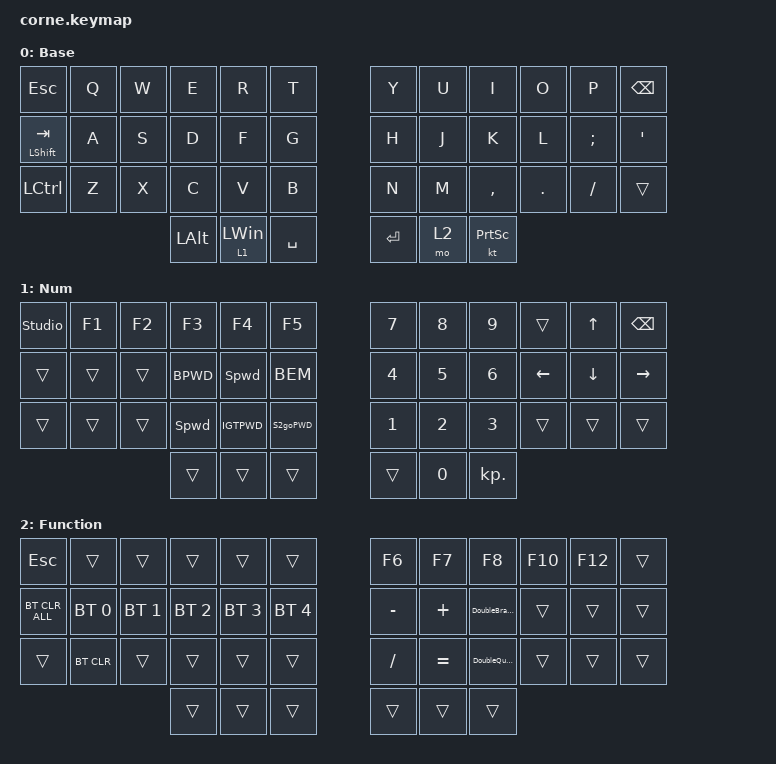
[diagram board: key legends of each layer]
#include <behaviors.dtsi>
#include <dt-bindings/zmk/bt.h>
#include <dt-bindings/zmk/keys.h>

/ {
    macros {
        DoubleBracket: DoubleBracket {
            compatible = "zmk,behavior-macro";
            #binding-cells = <0>;
            bindings = <&kp LPAR &kp RPAR &kp LEFT_ARROW>;
            label = "DOUBLEBRACKET";
        };

        DoubleQuote: DoubleQuote {
            compatible = "zmk,behavior-macro";
            #binding-cells = <0>;
            bindings = <&kp DOUBLE_QUOTES &kp DOUBLE_QUOTES &kp LEFT_ARROW>;
            label = "DOUBLEQUOTE";
        };

        Spwd: Spwd {
            compatible = "zmk,behavior-macro";
            #binding-cells = <0>;
            bindings = <&kp LS(T) &kp EXCL &kp N4 &kp N7 &kp M &kp C &kp M &kp S &kp AT &kp D &kp M &kp I &kp N>;
            label = "SPWD";
        };

        S2goPWD: S2goPWD {
            compatible = "zmk,behavior-macro";
            #binding-cells = <0>;
            bindings = <&kp LS(S) &kp Y &kp S &kp T &kp E &kp M &kp EXCL &kp N2 &kp G &kp O>;
            label = "S2GOPWD";
        };

        IGTPWD: IGTPWD {
            compatible = "zmk,behavior-macro";
            #binding-cells = <0>;
            bindings = <&kp LS(T) &kp EXCL &kp N1 &kp G &kp T &kp W &kp I &kp N &kp A &kp C &kp C>;
            label = "IGTPWD";
        };

        BPWD: BPWD {
            compatible = "zmk,behavior-macro";
            #binding-cells = <0>;
            bindings = <&kp LS(B) &kp I &kp LS(B) &kp I &kp LS(O) &kp N2 &kp N2 &kp N1 &kp N0>;
            label = "BPWD";
        };

        BEM: BEM {
            compatible = "zmk,behavior-macro";
            #binding-cells = <0>;
            bindings = <&kp B &kp O &kp O &kp N &kp H &kp U &kp E &kp I &kp DOT &kp L &kp O &kp W &kp AT &kp G &kp M &kp A &kp I &kp L &kp DOT &kp C &kp O &kp M>;
            label = "BEM";
        };
    };

    keymap {
        compatible = "zmk,keymap";

        /* ==================================================
         * Layer 0 – BASE
         * ================================================== */
        /* ==================================================
         * Layer 1 – LOWER
         * ================================================== */
        /* ==================================================
         * Layer 2 – RAISE
         * ================================================== */

        Base {
            bindings = <
&kp ESC             &kp Q  &kp W  &kp E     &kp R           &kp T        &kp Y      &kp U  &kp I            &kp O    &kp P     &kp BSPC
&mt LEFT_SHIFT TAB  &kp A  &kp S  &kp D     &kp F           &kp G        &kp H      &kp J  &kp K            &kp L    &kp SEMI  &kp APOS
&kp LCTRL           &kp Z  &kp X  &kp C     &kp V           &kp B        &kp N      &kp M  &kp COMMA        &kp DOT  &kp FSLH  &trans
                                  &kp LALT  &lt 1 LEFT_WIN  &kp SPACE    &kp ENTER  &mo 2  &kt PRINTSCREEN
            >;
        };

        Num {
            bindings = <
&studio_unlock  &kp F1  &kp F2  &kp F3  &kp F4   &kp F5      &kp N7  &kp N8        &kp N9      &trans          &kp UP_ARROW    &kp BACKSPACE
&trans          &trans  &trans  &BPWD   &Spwd    &BEM        &kp N4  &kp N5        &kp N6      &kp LEFT_ARROW  &kp DOWN_ARROW  &kp RIGHT_ARROW
&trans          &trans  &trans  &Spwd   &IGTPWD  &S2goPWD    &kp N1  &kp N2        &kp N3      &trans          &trans          &trans
                                &trans  &trans   &trans      &trans  &kp NUMBER_0  &kp KP_DOT
            >;
        };

        Function {
            bindings = <
&kp ESCAPE      &trans        &trans        &trans        &trans        &trans          &kp F6     &kp F7     &kp F8          &kp F10  &kp F12  &trans
&bt BT_CLR_ALL  &bt BT_SEL 0  &bt BT_SEL 1  &bt BT_SEL 2  &bt BT_SEL 3  &bt BT_SEL 4    &kp MINUS  &kp PLUS   &DoubleBracket  &trans   &trans   &trans
&trans          &bt BT_CLR    &trans        &trans        &trans        &trans          &kp SLASH  &kp EQUAL  &DoubleQuote    &trans   &trans   &trans
                                            &trans        &trans        &trans          &trans     &trans     &trans
            >;
        };
    };
};
